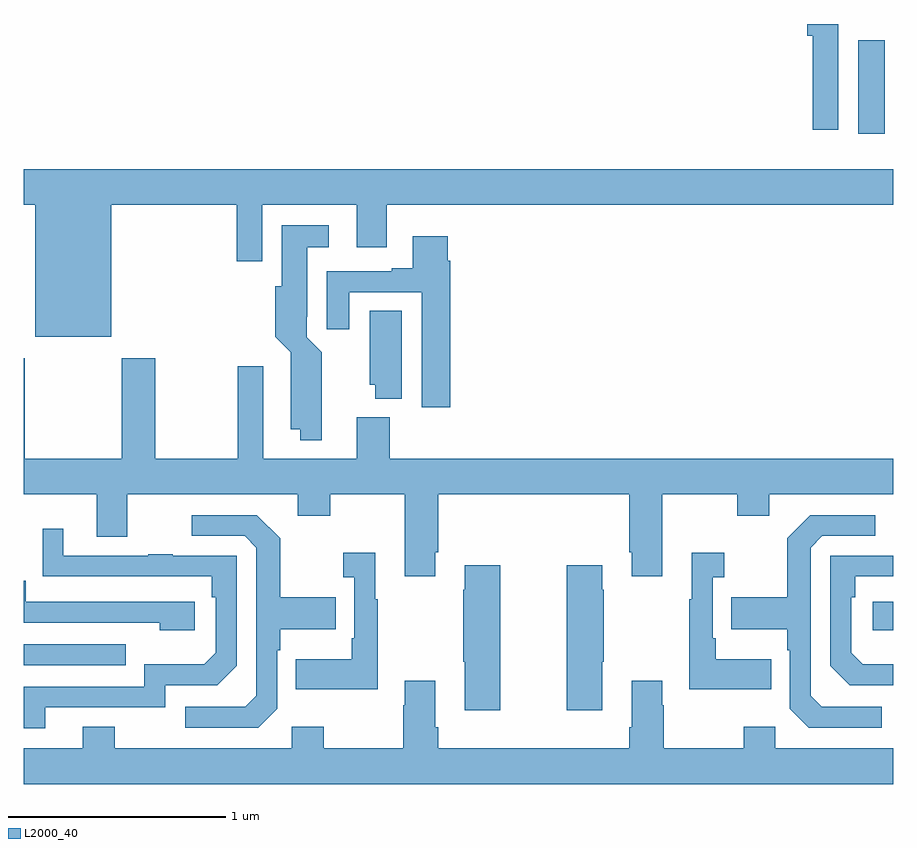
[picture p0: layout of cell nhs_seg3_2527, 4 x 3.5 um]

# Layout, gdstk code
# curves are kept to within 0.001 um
import gdstk
lib = gdstk.Library(unit=1e-6, precision=1e-09)
def R(c, l, rs):  # rectangles x0, y0, x1, y1
    for r in rs: c.add(gdstk.rectangle(r[:2], r[2:], *l))
def P(c, l, *ps):  # polygons
    for p in ps: c.add(gdstk.Polygon(p, *l))
L2000_40 = (2000, 40)

nhs_seg3_2527 = lib.new_cell('nhs_seg3_2527')
R(nhs_seg3_2527, L2000_40, [(241,713.451,241.469,713.547), (244.905,713.612,245,713.742), (244.838,715.896,244.96,716.326)])
P(nhs_seg3_2527, L2000_40, [(244.746,716.4),(244.604,716.4),(244.604,716.345),(244.63,716.345),(244.63,715.914),(244.746,715.914)],
  [(241.402,715.568),(241.981,715.568),(241.981,715.308),(242.097,715.308),(242.097,715.568),(242.531,715.568),(242.531,715.374),(242.671,715.374),(242.671,715.568),(245,715.568),(245,715.732),(241,715.732),(241,715.568),(241.052,715.568),(241.052,714.962),(241.402,714.962)],
  [(242.37,714.788),(242.371,714.89),(242.301,714.96),(242.301,715.054),(242.305,715.054),(242.305,715.373),(242.404,715.373),(242.404,715.474),(242.186,715.474),(242.186,715.194),(242.156,715.194),(242.156,714.962),(242.228,714.89),(242.228,714.536),(242.273,714.536),(242.273,714.485),(242.37,714.485)],
  [(242.963,715.31),(242.95,715.31),(242.95,715.423),(242.789,715.423),(242.789,715.276),(242.693,715.276),(242.693,715.263),(242.393,715.263),(242.393,714.996),(242.497,714.996),(242.497,715.167),(242.831,715.167),(242.831,714.636),(242.963,714.636)],
  [(242.74,715.082),(242.591,715.082),(242.591,714.741),(242.618,714.741),(242.618,714.677),(242.74,714.677)],
  [(242.684,714.592),(242.531,714.592),(242.531,714.4),(242.101,714.4),(242.101,714.826),(241.984,714.826),(241.984,714.4),(241.605,714.4),(241.605,714.862),(241.45,714.862),(241.45,714.4),(241.005,714.4),(241.005,714.862),(241,714.862),(241,714.236),(241.337,714.236),(241.337,714.042),(241.477,714.042),(241.477,714.236),(242.261,714.236),(242.261,714.137),(242.409,714.137),(242.409,714.236),(242.753,714.236),(242.753,713.859),(242.893,713.859),(242.893,713.971),(242.906,713.971),(242.906,714.236),(243.785,714.236),(243.785,713.971),(243.797,713.971),(243.797,713.859),(243.937,713.859),(243.937,714.236),(244.282,714.236),(244.282,714.137),(244.429,714.137),(244.429,714.236),(245,714.236),(245,714.4),(242.684,714.4)],
  [(244.948,713.259),(244.671,713.259),(244.62,713.31),(244.62,713.991),(244.674,714.045),(244.918,714.045),(244.918,714.141),(244.617,714.141),(244.512,714.035),(244.512,713.763),(244.255,713.763),(244.255,713.615),(244.512,713.615),(244.512,713.519),(244.524,713.519),(244.524,713.25),(244.611,713.163),(244.948,713.163)],
  [(242.166,713.25),(242.166,713.519),(242.179,713.519),(242.179,713.615),(242.435,713.615),(242.435,713.763),(242.179,713.763),(242.179,714.035),(242.073,714.141),(241.773,714.141),(241.773,714.045),(242.016,714.045),(242.07,713.991),(242.07,713.31),(242.019,713.259),(241.743,713.259),(241.743,713.163),(242.079,713.163)],
  [(241.099,713.256),(241.65,713.256),(241.65,713.358),(241.89,713.358),(241.98,713.448),(241.98,713.955),(241.685,713.955),(241.685,713.96),(241.573,713.96),(241.573,713.955),(241.183,713.955),(241.183,714.079),(241.087,714.079),(241.087,713.86),(241.864,713.859),(241.864,713.762),(241.884,713.762),(241.884,713.508),(241.831,713.455),(241.554,713.455),(241.554,713.352),(241,713.352),(241,713.16),(241.099,713.16)],
  [(242.629,713.755),(242.617,713.755),(242.617,713.968),(242.469,713.968),(242.469,713.855),(242.52,713.855),(242.52,713.575),(242.508,713.575),(242.508,713.479),(242.251,713.479),(242.251,713.339),(242.629,713.339)],
  [(244.439,713.479),(244.183,713.479),(244.183,713.575),(244.17,713.575),(244.17,713.855),(244.222,713.855),(244.222,713.968),(244.073,713.968),(244.073,713.755),(244.062,713.755),(244.062,713.339),(244.439,713.339)],
  [(245,713.455),(244.859,713.455),(244.806,713.508),(244.806,713.762),(244.826,713.762),(244.826,713.859),(245,713.859),(245,713.955),(244.71,713.955),(244.71,713.448),(244.8,713.358),(245,713.358)],
  [(243.192,713.911),(243.029,713.911),(243.029,713.798),(243.022,713.798),(243.022,713.467),(243.029,713.467),(243.029,713.244),(243.192,713.244)],
  [(243.661,713.467),(243.669,713.467),(243.669,713.798),(243.661,713.798),(243.661,713.911),(243.499,713.911),(243.499,713.244),(243.661,713.244)],
  [(241.786,713.742),(241.009,713.742),(241.009,713.839),(241,713.839),(241,713.646),(241.625,713.646),(241.625,713.612),(241.786,713.612)],
  [(245,713.068),(244.458,713.068),(244.458,713.167),(244.312,713.167),(244.312,713.068),(243.945,713.068),(243.945,713.267),(243.937,713.267),(243.937,713.38),(243.797,713.38),(243.797,713.164),(243.785,713.164),(243.785,713.068),(242.906,713.068),(242.906,713.164),(242.893,713.164),(242.893,713.38),(242.753,713.38),(242.753,713.267),(242.746,713.267),(242.746,713.068),(242.379,713.068),(242.379,713.167),(242.232,713.167),(242.232,713.068),(241.419,713.068),(241.419,713.167),(241.271,713.167),(241.271,713.068),(241,713.068),(241,712.904),(245,712.904)])

lib.write_gds('nhs_seg3_2527.gds')
